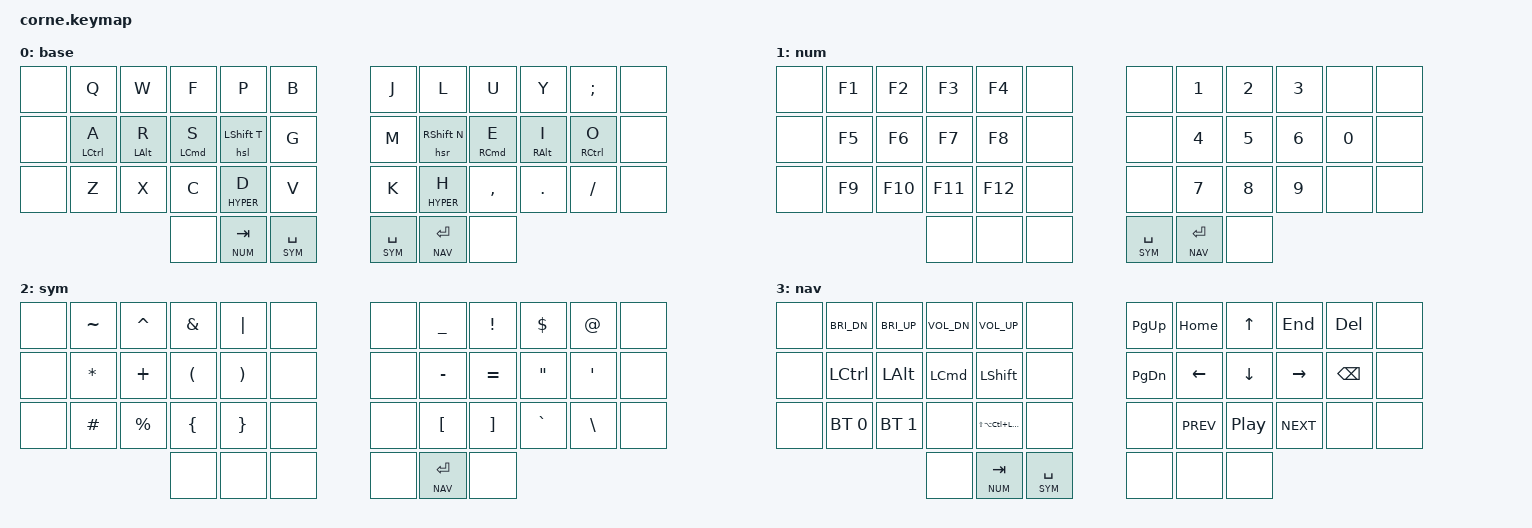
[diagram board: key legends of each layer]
#include <behaviors.dtsi>
#include <dt-bindings/zmk/keys.h>
#include <dt-bindings/zmk/bt.h>

/*
 *  ╭────────────────────────┬────────────────────────╮
 *  │  0   1   2   3   4   5 │  6   7   8   9  10  11 │
 *  │ 12  13  14  15  16  17 │ 18  19  20  21  22  23 │
 *  │ 24  25  26  27  28  29 │ 30  31  32  33  34  35 │
 *  ╰───────────╮ 36  37  38 │ 39  40  41 ╭───────────╯
 *              ╰────────────┴────────────╯
 */

#define LHS 0  1  2  3  4  5  \
            12 13 14 15 16 17 \
            24 25 26 27 28 29
#define RHS 6  7  8  9  10 11 \
            18 19 20 21 22 23 \
            30 31 32 33 34 35
#define TMB 36 37 38 39 40 41

#define DEFINE_HRM(_label, _name, _hold, _tap, _triggers, ...)  \
    _label: _name {                                             \
      compatible = "zmk,behavior-hold-tap";                     \
      #binding-cells = <2>;                                     \
      flavor = "balanced";                                      \
      tapping-term-ms = <200>;                                  \
      quick-tap-ms = <175>;                                     \
      bindings = <_hold>, <_tap>;                               \
      hold-trigger-key-positions = <_triggers>;                 \
      hold-trigger-on-release;                                  \
      __VA_ARGS__                                               \
    }

#define ___ &none

#define BASE 0
#define NUM  1
#define SYM  2
#define NAV  3

#define HYPER LS(LA(LC(LCMD)))

#define LCTRL_A &hml LCTRL A
#define LALT_R  &hml LALT  R
#define LCMD_S  &hml LCMD  S
#define LSHFT_T &hsl LSHFT T
#define HYPER_D &hml HYPER D

#define HYPER_H &hmr HYPER H
#define RSHFT_N &hsr RSHFT N
#define RCMD_E  &hmr RCMD  E
#define RALT_I  &hmr RALT  I
#define RCTRL_O &hmr RCTRL O

#define NUM_TAB   &lt NUM TAB
#define SYM_SPACE &lt SYM SPACE
#define NAV_RET   &lt NAV RET

&lt {
    flavor = "balanced";
    tapping-term-ms = <175>;
};

&caps_word {
    continue-list = <UNDER MINUS BSPC DEL>;
};

/ {
    combos {
        compatible = "zmk,combos";

        combo_esc {
            bindings = <&kp ESC>;
            key-positions = <2 3>;
            layers = <BASE>;
            timeout-ms = <50>;
            require-prior-idle-ms = <100>;
        };

        combo_caps_word {
            bindings = <&caps_word>;
            key-positions = <8 9>;
            layers = <BASE>;
            timeout-ms = <50>;
            require-prior-idle-ms = <100>;
        };

        combo_mute {
            bindings = <&kp C_MUTE>;
            key-positions = <3 4>;
            layers = <NAV>;
            timeout-ms = <50>;
            require-prior-idle-ms = <100>;
        };

        combo_bt_clr {
            bindings = <&bt BT_CLR>;
            key-positions = <25 26>;
            layers = <NAV>;
            timeout-ms = <50>;
            require-prior-idle-ms = <100>;
        };
    };

    keymap {
        compatible = "zmk,keymap";

        base_layer {
            display-name = "base";
            bindings = <
    ___ &kp Q        &kp W        &kp F        &kp P        &kp B        &kp J     &kp L        &kp U      &kp Y        &kp SEMI ___
    ___ LCTRL_A      LALT_R       LCMD_S       LSHFT_T      &kp G        &kp M     RSHFT_N      RCMD_E     RALT_I       RCTRL_O  ___
    ___ &kp Z        &kp X        &kp C        HYPER_D      &kp V        &kp K     HYPER_H      &kp COMMA  &kp DOT      &kp FSLH ___
                                  ___          NUM_TAB      SYM_SPACE    SYM_SPACE NAV_RET      ___
            >;
        };

        num_layer {
            display-name = "num";
            bindings = <
    ___ &kp F1       &kp F2       &kp F3       &kp F4       ___          ___       &kp N1       &kp N2     &kp N3       ___      ___
    ___ &kp F5       &kp F6       &kp F7       &kp F8       ___          ___       &kp N4       &kp N5     &kp N6       &kp N0   ___
    ___ &kp F9       &kp F10      &kp F11      &kp F12      ___          ___       &kp N7       &kp N8     &kp N9       ___      ___
                                  ___          ___          ___          SYM_SPACE NAV_RET      ___
            >;
        };

        sym_layer {
            display-name = "sym";
            bindings = <
    ___ &kp TILDE    &kp CARET    &kp AMPS     &kp PIPE     ___          ___       &kp UNDER    &kp EXCL   &kp DLLR     &kp AT   ___
    ___ &kp STAR     &kp PLUS     &kp LPAR     &kp RPAR     ___          ___       &kp MINUS    &kp EQUAL  &kp DQT      &kp SQT  ___
    ___ &kp HASH     &kp PRCNT    &kp LBRC     &kp RBRC     ___          ___       &kp LBKT     &kp RBKT   &kp GRAVE    &kp BSLH ___
                                  ___          ___          ___          ___       NAV_RET      ___
            >;
        };

        nav_layer {
            display-name = "nav";
            bindings = <
    ___ &kp C_BRI_DN &kp C_BRI_UP &kp C_VOL_DN &kp C_VOL_UP ___          &kp PG_UP &kp HOME     &kp UP     &kp END      &kp DEL  ___
    ___ &kp LCTRL    &kp LALT     &kp LCMD     &kp LSHFT    ___          &kp PG_DN &kp LEFT     &kp DOWN   &kp RIGHT    &kp BSPC ___
    ___ &bt BT_SEL 0 &bt BT_SEL 1 ___          &kp HYPER    ___          ___       &kp C_PREV   &kp C_PP   &kp C_NEXT   ___      ___
                                  ___          NUM_TAB      SYM_SPACE    ___       ___          ___
            >;
        };
    };

    behaviors {
        // homerow mods that are NOT the shift key
        DEFINE_HRM(hml, home_row_mod_left, &kp, &kp, RHS TMB,
            require-prior-idle-ms = <100>;
        );
        DEFINE_HRM(hmr, home_row_mod_right, &kp, &kp, LHS TMB,
            require-prior-idle-ms = <100>;
        );

        // homerow mods that ARE the shift key
        DEFINE_HRM(hsl, home_row_mod_for_shift_left, &kp, &kp, RHS TMB);
        DEFINE_HRM(hsr, home_row_mod_for_shift_right, &kp, &kp, LHS TMB);
    };
};
